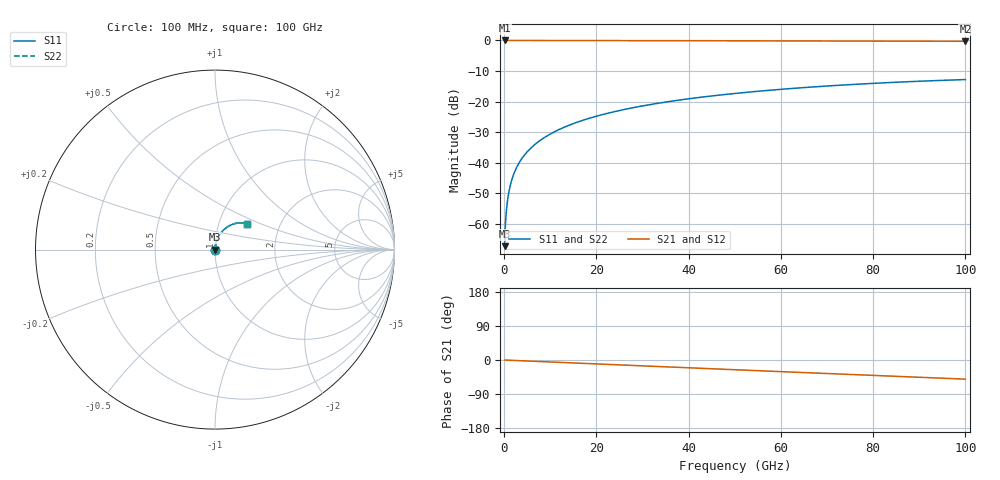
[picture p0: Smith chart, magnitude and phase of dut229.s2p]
! Touchstone file exported from HFSS 2026.1.0
!  File:  C:/ffzhzh/LocalFiles/Ansys_Project_Files/temp_train_TSV_229_1783507953_44152.aedt
!  Generated:  06:54:01 PM Jul  8, 2026
!  Design:  TSV
!  Project:  temp_train_TSV_229_1783507953_44152
! Variables:
!  h_bsmrdl = 2um
!  h_ox = 20um
!  h_rdl = 5um
!  h_sub = 99.87um
!  h_tmrdl = 5um
!  h_tsv = 99.87um
!  h_via = 3um
!  l_bsmrdl = 300um
!  l_sub = 414.08um
!  l_tmrdl = 200um
!  m_sub = 200um
!  pitch = 44.99um
!  r_tsv = 7.04um
!  s_tmrdl = 10um
!  w_bsmrdl = 18um
!  w_sub = 500um
!  w_tmrdl = 12um
!  x_tsv_center1 = 206um
!  x_tsv_center2 = 524um
!  x_tsv_center3 = 736um
!  x_tsv_center4 = 1054um
!  x_tsv_center5 = 1266um
!  x_tsv_center6 = 1584um
# GHz S MA R 50.000000
! Terminal data exported
! Port[1] = TSV1_1_T1
! Port[2] = TSV1_1_T2
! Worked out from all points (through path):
!   1000 points, 100 MHz to 100 GHz, reference 50 ohm
!   highest |S21| = 0.00 dB at 100 MHz (marker M1); lowest = -0.3 dB at 100 GHz (marker M2)
!   group delay of S21, straight-line fit = 1.4 ps
!   lowest |S11| = -67.3 dB at 100 MHz (marker M3), VSWR 1.00, Z = 50 + j0.0341 ohm
!   |S11| at or under -10 dB: start of sweep to end of sweep
!   |S22| runs from -67.3 to -12.8 dB; largest |S21 - S12| = 4.1e-15
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0.1  0.0004322 52.1  0.9997 -0.1  0.9997 -0.1  0.0004322 52.1
! Gamma 0 0 0 0
! Port Impedance 50 0 50 0
0.4  0.001368 76.3  0.9997 -0.2  0.9997 -0.2  0.001368 76.3
0.7  0.002309 80.3  0.9996 -0.4  0.9996 -0.4  0.002309 80.3
0.8  0.00262 81.0  0.9996 -0.4  0.9996 -0.4  0.00262 81.0
1  0.003241 81.9  0.9996 -0.5  0.9996 -0.5  0.003241 81.9
1.3  0.004165 82.7  0.9995 -0.7  0.9995 -0.7  0.004165 82.7
1.7  0.005384 83.2  0.9994 -0.9  0.9994 -0.9  0.005384 83.2
2.3  0.007185 83.6  0.9993 -1.2  0.9993 -1.2  0.007185 83.6
3  0.009256 83.7  0.9992 -1.6  0.9992 -1.6  0.009256 83.7
3.8  0.0116 83.7  0.9991 -2.0  0.9991 -2.0  0.0116 83.7
4.8  0.0145 83.6  0.9989 -2.5  0.9989 -2.5  0.0145 83.6
6  0.01798 83.4  0.9988 -3.1  0.9988 -3.1  0.01798 83.4
8.8  0.02605 82.5  0.9984 -4.6  0.9984 -4.6  0.02605 82.5
12.4  0.03633 81.0  0.9978 -6.5  0.9978 -6.5  0.03633 81.1
16.8  0.04875 79.1  0.997 -8.7  0.997 -8.7  0.04875 79.1
24.2  0.06928 75.7  0.9954 -12.5  0.9954 -12.5  0.06928 75.7
33.4  0.09405 71.2  0.993 -17.3  0.993 -17.3  0.09405 71.2
41.2  0.1142 67.4  0.9907 -21.2  0.9907 -21.2  0.1142 67.4
50.1  0.1361 63.0  0.9876 -25.7  0.9876 -25.7  0.1361 63.0
66.7  0.1732 54.8  0.9814 -34.1  0.9814 -34.1  0.1732 54.9
83.4  0.2047 46.7  0.975 -42.4  0.975 -42.4  0.2047 46.7
100  0.2293 38.7  0.9692 -50.5  0.9692 -50.5  0.2293 38.7
